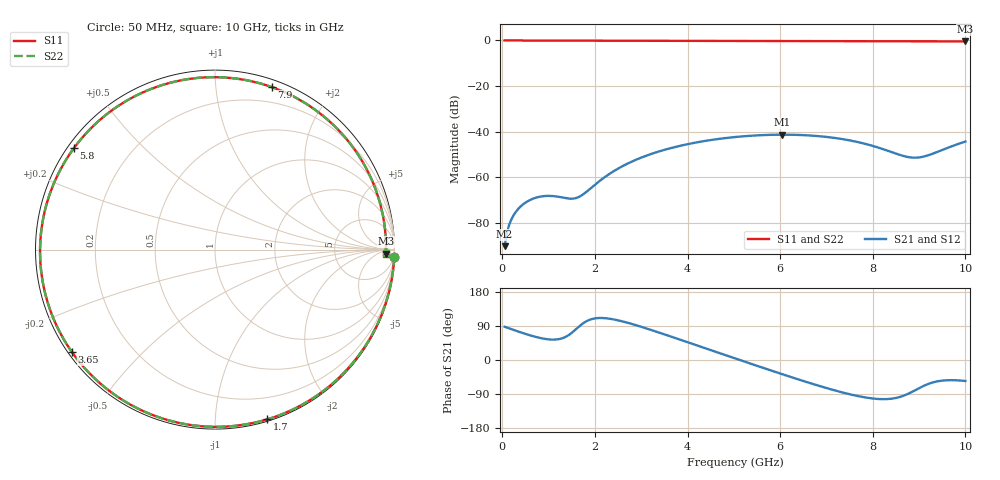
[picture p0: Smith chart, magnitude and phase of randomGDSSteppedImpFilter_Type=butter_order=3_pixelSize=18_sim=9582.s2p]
! freq	dB(S11)	phase(S11)	dB(S12)	phase(S12)
!  dB(S21)	phase(S21)	dB(S22)	phase(S22)
!S-par simulation data
#  GHz  S  DB  R 50
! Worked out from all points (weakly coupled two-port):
!   200 points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, 50 MHz to 10 GHz, reference 50 ohm
!   highest |S21| = -41.28 dB at 6.05 GHz (marker M1); lowest = -90.1 dB at 50 MHz (marker M2)
!   lowest |S11| = -0.4 dB at 10 GHz (marker M3), VSWR 40.95, Z = 1.67e+03 - j793 ohm
!   |S11| at or under -10 dB: nowhere
!   |S22| runs from -0.4 to 0.0 dB; largest |S21 - S12| = 0
!   S11 on the Smith chart (normalised r, x): 50 MHz: 0, -51; 1.7 GHz: 0.01, -1.36; 3.65 GHz: 0.01, -0.32; 5.8 GHz: 0.02, +0.32; 7.9 GHz: 0.06, +1.41; 10 GHz: 33, -16
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0.05  -0.00 -2.3  -90.13 87.8  -90.13 87.8  -0.00 -2.2
0.15  -0.01 -6.7  -80.66 83.4  -80.66 83.4  -0.01 -6.7
0.4  -0.02 -17.8  -72.65 72.8  -72.65 72.8  -0.03 -17.8
0.7  -0.04 -30.9  -69.06 61.6  -69.06 61.6  -0.04 -30.9
1.2  -0.07 -52.3  -68.45 54.7  -68.45 54.7  -0.07 -52.3
1.5  -0.08 -64.7  -69.34 71.7  -69.34 71.7  -0.08 -64.7
1.7  -0.09 -72.8  -68.04 92.7  -68.04 92.7  -0.09 -72.8
1.75  -0.09 -74.8  -67.37 97.3  -67.37 97.3  -0.09 -74.8
2.5  -0.12 -103.7  -56.14 104.7  -56.14 104.7  -0.12 -103.6
3.4  -0.16 -135.7  -48.52 71.8  -48.52 71.8  -0.16 -135.7
3.65  -0.17 -144.3  -47.10 61.6  -47.10 61.6  -0.17 -144.2
4.35  -0.20 -167.7  -44.12 32.4  -44.12 32.4  -0.20 -167.7
5.05  -0.24 169.2  -42.27 3.2  -42.27 3.2  -0.24 169.2
5.8  -0.28 144.2  -41.34 -27.6  -41.34 -27.6  -0.28 144.2
6.05  -0.29 135.7  -41.28 -37.7  -41.28 -37.7  -0.29 135.7
6.7  -0.32 113.3  -41.72 -63.0  -41.72 -63.0  -0.32 113.4
7.3  -0.35 92.2  -43.07 -84.2  -43.07 -84.2  -0.34 92.3
7.9  -0.36 70.8  -45.63 -100.0  -45.63 -100.0  -0.36 70.8
8.35  -0.37 54.7  -48.51 -102.8  -48.51 -102.8  -0.37 54.8
8.75  -0.38 40.6  -51.03 -90.0  -51.03 -90.0  -0.38 40.6
9  -0.39 31.9  -51.24 -74.3  -51.24 -74.3  -0.38 31.9
10  -0.42 -1.3  -44.28 -55.5  -44.28 -55.5  -0.42 -1.3
